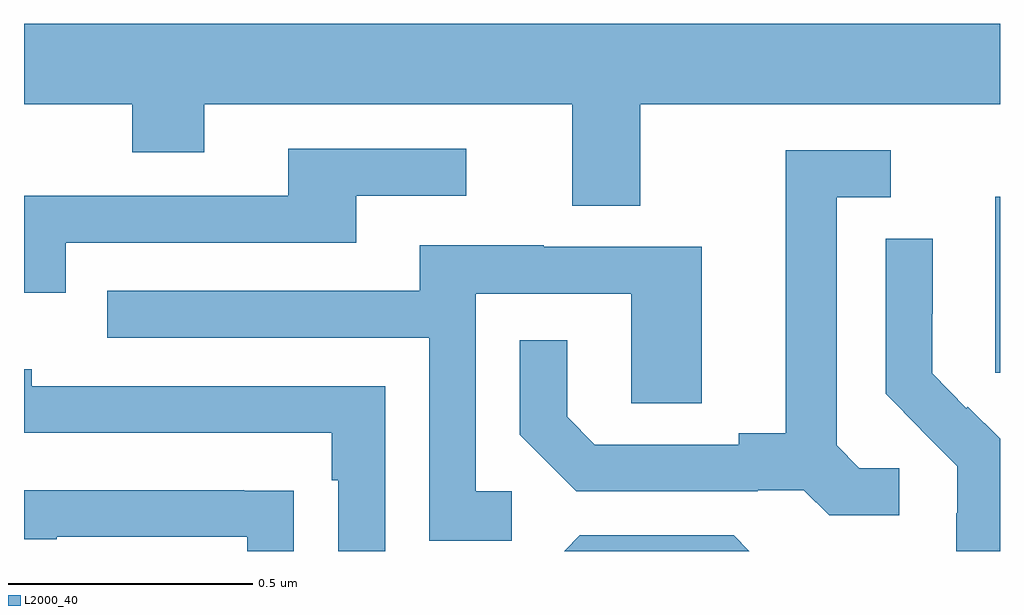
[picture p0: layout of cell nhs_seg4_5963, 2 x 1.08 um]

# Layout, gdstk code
import gdstk
lib = gdstk.Library(unit=1e-6, precision=1e-09)
def R(c, l, rs):  # rectangles x0, y0, x1, y1
    for r in rs: c.add(gdstk.rectangle(r[:2], r[2:], *l))
def P(c, l, *ps):  # polygons
    for p in ps: c.add(gdstk.Polygon(p, *l))
L2000_40 = (2000, 40)

nhs_seg4_5963 = lib.new_cell('nhs_seg4_5963')
R(nhs_seg4_5963, L2000_40, [(185.99,800.265,186,800.626)])
P(nhs_seg4_5963, L2000_40, [(185.263,800.816),(186,800.816),(186,800.98),(184,800.98),(184,800.816),(184.222,800.816),(184.222,800.717),(184.369,800.717),(184.369,800.816),(185.123,800.816),(185.123,800.608),(185.263,800.608)],
  [(184.086,800.532),(184.681,800.532),(184.681,800.628),(184.906,800.628),(184.906,800.724),(184.541,800.724),(184.541,800.628),(184,800.628),(184,800.429),(184.086,800.429)],
  [(185.794,800.07),(185.712,800.07),(185.665,800.117),(185.665,800.625),(185.776,800.625),(185.776,800.721),(185.561,800.721),(185.561,800.141),(185.465,800.141),(185.465,800.118),(185.17,800.118),(185.113,800.175),(185.113,800.332),(185.016,800.332),(185.016,800.138),(185.132,800.022),(185.504,800.022),(185.504,800.025),(185.598,800.025),(185.65,799.973),(185.794,799.973)],
  [(186,800.13),(185.934,800.196),(185.931,800.193),(185.861,800.264),(185.861,800.386),(185.862,800.386),(185.862,800.54),(185.766,800.54),(185.766,800.222),(185.839,800.149),(185.838,800.148),(185.912,800.074),(185.912,799.977),(185.91,799.977),(185.91,799.9),(186,799.9)],
  [(184.999,800.022),(184.926,800.022),(184.926,800.427),(185.244,800.427),(185.244,800.203),(185.389,800.203),(185.389,800.523),(185.065,800.523),(185.065,800.527),(184.811,800.527),(184.811,800.433),(184.171,800.433),(184.171,800.337),(184.83,800.337),(184.83,799.921),(184.999,799.921)],
  [(184.74,800.238),(184.016,800.238),(184.016,800.272),(184,800.272),(184,800.142),(184.631,800.142),(184.631,800.045),(184.644,800.045),(184.644,799.9),(184.74,799.9)],
  [(184.553,800.024),(184.451,800.024),(184.451,800.025),(184,800.025),(184,799.924),(184.067,799.924),(184.067,799.929),(184.457,799.929),(184.457,799.9),(184.553,799.9)],
  [(185.454,799.932),(185.139,799.932),(185.107,799.9),(185.486,799.9)])

lib.write_gds('nhs_seg4_5963.gds')
